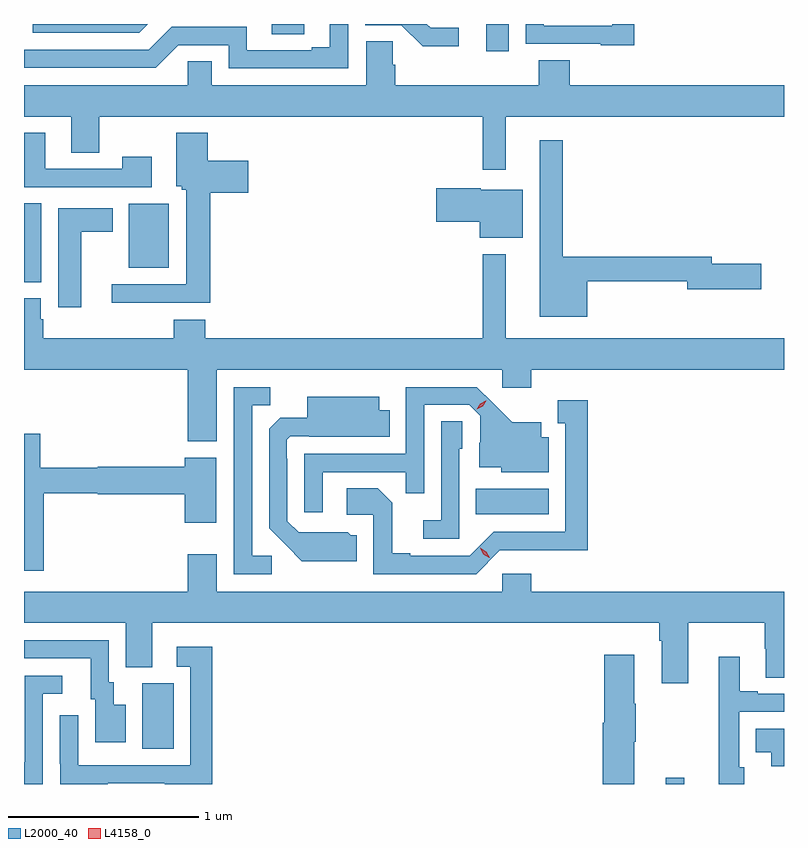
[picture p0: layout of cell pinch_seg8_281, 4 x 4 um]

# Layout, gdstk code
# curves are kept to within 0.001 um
import gdstk
lib = gdstk.Library(unit=1e-6, precision=1e-09)
def R(c, l, rs):  # rectangles x0, y0, x1, y1
    for r in rs: c.add(gdstk.rectangle(r[:2], r[2:], *l))
def P(c, l, *ps):  # polygons
    for p in ps: c.add(gdstk.Polygon(p, *l))
L2000_40 = (2000, 40)
L4158_0 = (4158, 0)

pinch_seg8_281 = lib.new_cell('pinch_seg8_281')
R(pinch_seg8_281, L2000_40, [(530.42,1138.295,530.517,1138.327), (527.666,1138.48,527.83,1138.824), (529.42,1139.714,529.804,1139.848), (527.043,1140.937,527.134,1141.352), (527.594,1141.013,527.806,1141.348), (529.475,1142.151,529.593,1142.295), (528.346,1142.242,528.517,1142.295)])
P(pinch_seg8_281, L2000_40, [(529.33,1142.274),(529.185,1142.274),(529.164,1142.295),(528.84,1142.295),(528.84,1142.289),(529.029,1142.289),(529.142,1142.177),(529.33,1142.177)],
  [(527.694,1142.295),(527.088,1142.295),(527.088,1142.25),(527.649,1142.25)],
  [(530.255,1142.295),(530.139,1142.295),(530.139,1142.286),(529.779,1142.286),(529.779,1142.295),(529.683,1142.295),(529.683,1142.19),(530.079,1142.19),(530.079,1142.183),(530.255,1142.183)],
  [(528.75,1142.295),(528.653,1142.295),(528.653,1142.172),(528.557,1142.172),(528.557,1142.157),(528.216,1142.157),(528.216,1142.28),(527.82,1142.28),(527.7,1142.16),(527.043,1142.16),(527.043,1142.064),(527.736,1142.064),(527.856,1142.184),(528.12,1142.184),(528.12,1142.061),(528.75,1142.061)],
  [(529.579,1141.808),(531.043,1141.808),(531.043,1141.972),(529.916,1141.972),(529.916,1142.105),(529.751,1142.105),(529.751,1141.972),(528.998,1141.972),(528.998,1142.081),(528.984,1142.081),(528.984,1142.204),(528.845,1142.204),(528.845,1141.972),(528.031,1141.972),(528.031,1142.099),(527.904,1142.099),(527.904,1141.972),(527.043,1141.972),(527.043,1141.808),(527.291,1141.808),(527.291,1141.618),(527.439,1141.618),(527.439,1141.808),(529.458,1141.808),(529.458,1141.527),(529.579,1141.527)],
  [(527.716,1141.597),(527.56,1141.597),(527.56,1141.533),(527.155,1141.533),(527.155,1141.723),(527.043,1141.723),(527.043,1141.437),(527.716,1141.437)],
  [(528.023,1141.406),(528.223,1141.406),(528.223,1141.576),(528.01,1141.576),(528.01,1141.723),(527.843,1141.723),(527.843,1141.44),(527.874,1141.44),(527.874,1141.422),(527.897,1141.422),(527.897,1140.924),(527.505,1140.924),(527.505,1140.827),(528.023,1140.827)],
  [(530.008,1140.942),(530.534,1140.942),(530.534,1140.899),(530.923,1140.899),(530.923,1141.034),(530.662,1141.034),(530.662,1141.07),(529.879,1141.07),(529.879,1141.684),(529.757,1141.684),(529.757,1140.755),(530.008,1140.755)],
  [(529.669,1141.423),(529.446,1141.423),(529.446,1141.431),(529.212,1141.431),(529.212,1141.253),(529.442,1141.253),(529.442,1141.169),(529.669,1141.169)],
  [(527.344,1141.202),(527.509,1141.202),(527.509,1141.324),(527.222,1141.324),(527.222,1140.804),(527.344,1140.804)],
  [(528.058,1140.476),(529.56,1140.476),(529.56,1140.381),(529.712,1140.381),(529.712,1140.476),(531.043,1140.476),(531.043,1140.64),(529.579,1140.64),(529.579,1141.084),(529.458,1141.084),(529.458,1140.64),(527.996,1140.64),(527.996,1140.739),(527.831,1140.739),(527.831,1140.64),(527.144,1140.64),(527.144,1140.741),(527.131,1140.741),(527.131,1140.852),(527.043,1140.852),(527.043,1140.476),(527.906,1140.476),(527.906,1140.098),(528.058,1140.098)],
  [(528.615,1139.937),(529.051,1139.937),(529.051,1139.824),(529.149,1139.824),(529.149,1140.291),(529.386,1140.291),(529.443,1140.234),(529.443,1140.092),(529.439,1140.092),(529.439,1139.963),(529.554,1139.963),(529.554,1139.936),(529.804,1139.936),(529.804,1140.121),(529.765,1140.121),(529.765,1140.199),(529.613,1140.199),(529.426,1140.384),(529.053,1140.384),(529.053,1140.033),(528.519,1140.033),(528.519,1139.724),(528.615,1139.724)],
  [(528.346,1139.496),(528.243,1139.496),(528.243,1140.289),(528.339,1140.289),(528.339,1140.384),(528.147,1140.384),(528.147,1139.4),(528.346,1139.4)],
  [(528.793,1139.604),(528.762,1139.604),(528.746,1139.62),(528.489,1139.619),(528.429,1139.679),(528.429,1140.008),(528.426,1140.008),(528.426,1140.108),(528.444,1140.126),(528.544,1140.126),(528.544,1140.122),(528.968,1140.122),(528.968,1140.262),(528.913,1140.262),(528.913,1140.334),(528.533,1140.334),(528.533,1140.223),(528.392,1140.223),(528.333,1140.164),(528.333,1139.642),(528.505,1139.468),(528.793,1139.468)],
  [(529.548,1139.526),(530.011,1139.525),(530.011,1140.316),(529.853,1140.316),(529.853,1140.195),(529.892,1140.195),(529.892,1139.622),(529.515,1139.622),(529.389,1139.496),(529.075,1139.496),(529.075,1139.509),(528.981,1139.509),(528.981,1139.776),(528.905,1139.852),(528.741,1139.852),(528.741,1139.712),(528.882,1139.712),(528.882,1139.4),(529.422,1139.4)],
  [(529.335,1140.06),(529.35,1140.06),(529.35,1140.203),(529.239,1140.203),(529.239,1139.683),(529.143,1139.683),(529.143,1139.586),(529.335,1139.586)],
  [(527.147,1139.824),(527.43,1139.824),(527.43,1139.819),(527.888,1139.819),(527.888,1139.67),(528.055,1139.67),(528.055,1140.013),(527.888,1140.013),(527.888,1139.966),(527.43,1139.966),(527.43,1139.96),(527.128,1139.96),(527.128,1140.139),(527.043,1140.139),(527.043,1139.418),(527.147,1139.418)],
  [(530.539,1139.144),(530.941,1139.144),(530.941,1139.006),(530.948,1139.006),(530.948,1138.855),(531.043,1138.855),(531.043,1139.308),(529.712,1139.308),(529.712,1139.401),(529.56,1139.401),(529.56,1139.308),(528.058,1139.308),(528.058,1139.503),(527.906,1139.503),(527.906,1139.308),(527.043,1139.308),(527.043,1139.144),(527.579,1139.144),(527.579,1138.909),(527.719,1138.909),(527.719,1139.144),(530.387,1139.144),(530.387,1139.048),(530.399,1139.048),(530.399,1138.824),(530.539,1138.824)],
  [(527.578,1138.711),(527.515,1138.711),(527.515,1138.83),(527.49,1138.83),(527.49,1139.052),(527.043,1139.052),(527.043,1138.956),(527.393,1138.956),(527.393,1138.74),(527.417,1138.74),(527.417,1138.515),(527.578,1138.515)],
  [(527.483,1138.299),(527.783,1138.299),(527.783,1138.295),(528.035,1138.295),(528.035,1139.017),(527.847,1139.017),(527.847,1138.911),(527.919,1138.911),(527.919,1138.395),(527.328,1138.395),(527.328,1138.657),(527.232,1138.657),(527.232,1138.402),(527.233,1138.402),(527.233,1138.295),(527.483,1138.295)],
  [(530.254,1138.517),(530.262,1138.517),(530.262,1138.717),(530.254,1138.717),(530.254,1138.975),(530.096,1138.975),(530.096,1138.617),(530.09,1138.617),(530.09,1138.295),(530.254,1138.295)],
  [(530.833,1138.383),(530.808,1138.383),(530.808,1138.674),(531.043,1138.674),(531.043,1138.77),(530.905,1138.77),(530.905,1138.783),(530.809,1138.783),(530.809,1138.966),(530.699,1138.966),(530.699,1138.721),(530.7,1138.721),(530.7,1138.295),(530.833,1138.295)],
  [(527.142,1138.77),(527.245,1138.77),(527.245,1138.866),(527.046,1138.866),(527.046,1138.409),(527.045,1138.409),(527.045,1138.295),(527.142,1138.295)],
  [(531.043,1138.585),(530.893,1138.585),(530.893,1138.463),(530.975,1138.463),(530.975,1138.388),(531.043,1138.388)])
P(pinch_seg8_281, L4158_0, [(529.492,1139.485),(529.461,1139.505),(529.444,1139.538),(529.444,1139.538),(529.445,1139.538),(529.476,1139.518),(529.493,1139.486),(529.493,1139.485)],
  [(529.427,1140.267),(529.427,1140.267),(529.444,1140.297),(529.474,1140.312),(529.475,1140.312),(529.475,1140.312),(529.458,1140.282),(529.427,1140.267)])

lib.write_gds('pinch_seg8_281.gds')
